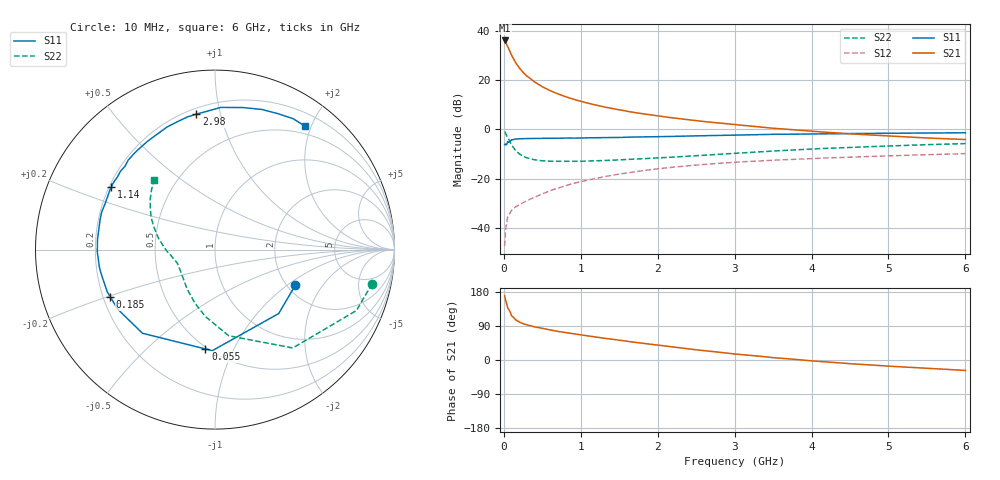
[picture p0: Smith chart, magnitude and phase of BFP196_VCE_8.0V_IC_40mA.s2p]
! Infineon Technologies  Discrete & RF Semiconductors
! BFP196
! VCE = 8.0 V,  IC =  40mA
! Common Emitter S-Parameters:  Jan 2016
# GHz  S  MA  R  50
!  f  S11  S21  S12  S22
! GHz  MAG  ANG  MAG  ANG  MAG  ANG  MAG  ANG
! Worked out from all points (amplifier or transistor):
!   210 points, 10 MHz to 6 GHz, reference 50 ohm
!   highest |S21| = 36.2 dB at 10 MHz (marker M1)
!   |S21| within 3 dB of that: start of sweep to 58.71 MHz
!   unconditionally stable (mu >= 1): 553.1 MHz to 4.498 GHz; 4.516 GHz to 4.727 GHz
!   at 185 MHz: K = 0.62, MSG = 28.4 dB, |S12| = -31.0 dB
!   at 1.52 GHz: K = 1.09, MAG = 11.2 dB, |S12| = -18.1 dB
!   at 6 GHz: K = 0.97, MSG = 2.9 dB, |S12| = -9.9 dB
!   S11 on the Smith chart (normalised r, x): 10 MHz: 2.22, -1.15; 55 MHz: 0.49, -0.78; 185 MHz: 0.23, -0.20; 1.14 GHz: 0.21, +0.27; 2.98 GHz: 0.24, +0.84; 6 GHz: 0.38, +1.91
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0.01  0.4898 -23.7  64.37 169.7  0.0042 79.7  0.8959 -12.2
0.02  0.5028 -45.1  60.9 159.5  0.0081 73.7  0.8581 -23.3
0.05  0.5632 -91.5  48.77 137.6  0.0164 57.4  0.6984 -51.7
0.055  0.5559 -95.5  46.92 136.2  0.017 56.0  0.6714 -53.7
0.1  0.6169 -130.9  32.24 117.0  0.0224 47.1  0.4859 -81.0
0.15  0.6358 -148.6  23.1 106.5  0.0263 45.9  0.3756 -98.4
0.185  0.64 -155.7  19.4 102.4  0.0283 47.2  0.334 -106.4
0.2  0.6448 -158.7  17.86 100.1  0.0292 47.7  0.3186 -110.5
0.24  0.6455 -164.5  15.07 96.7  0.0316 48.6  0.2894 -118.1
0.3  0.6514 -170.9  12.11 92.5  0.0354 50.9  0.2638 -127.0
0.4  0.6559 -178.8  9.188 87.5  0.0415 54.1  0.2405 -137.5
0.5  0.6571 175.3  7.354 83.3  0.0485 56.4  0.2293 -144.8
0.7  0.6615 165.5  5.289 75.5  0.0636 59.0  0.2235 -153.5
1.02  0.6678 153.3  3.648 65.8  0.0877 58.0  0.2248 -161.5
1.14  0.6748 148.9  3.272 62.3  0.0965 57.2  0.2282 -163.7
1.6  0.6944 134.2  2.334 49.5  0.13 52.1  0.2442 -170.8
2.02  0.7109 121.9  1.861 38.8  0.1585 46.6  0.2635 -176.9
2.98  0.7615 97.8  1.255 16.3  0.2136 33.2  0.3236 168.0
3.1  0.7667 95.4  1.205 14.1  0.2187 31.5  0.3319 166.0
4.1  0.809 77.3  0.894 -3.7  0.2579 19.2  0.4053 151.8
5.1  0.837 63.8  0.719 -17.3  0.2918 8.3  0.464 140.7
6  0.8515 53.7  0.621 -27.6  0.3201 -1.5  0.5137 131.2
